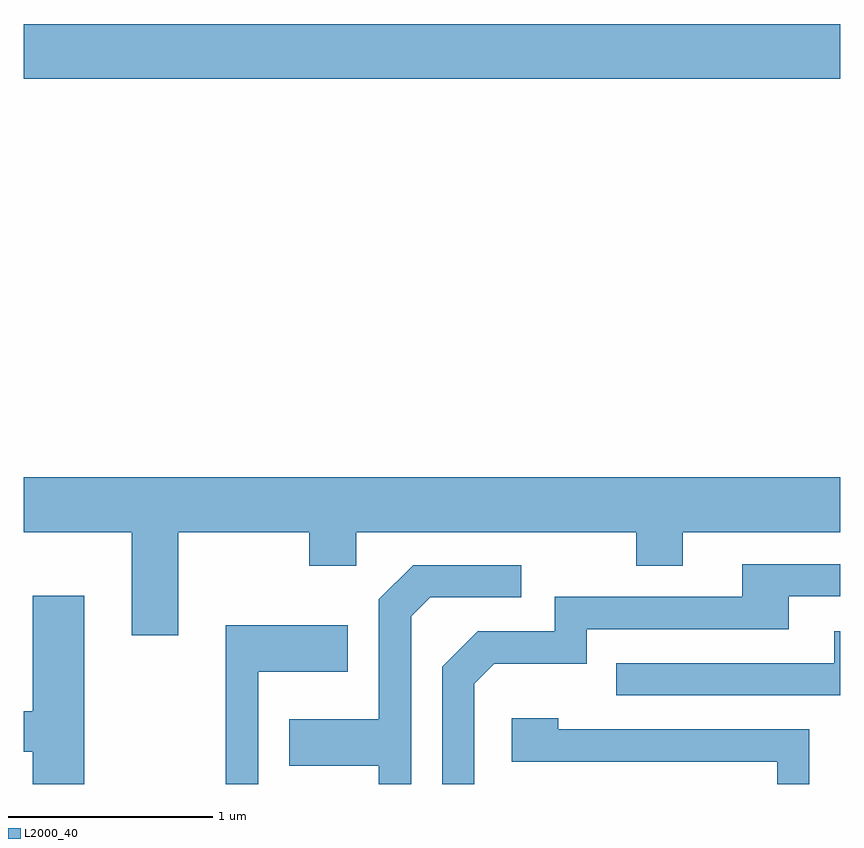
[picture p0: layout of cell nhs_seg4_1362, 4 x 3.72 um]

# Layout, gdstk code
import gdstk
lib = gdstk.Library(unit=1e-6, precision=1e-09)
def R(c, l, rs):  # rectangles x0, y0, x1, y1
    for r in rs: c.add(gdstk.rectangle(r[:2], r[2:], *l))
def P(c, l, *ps):  # polygons
    for p in ps: c.add(gdstk.Polygon(p, *l))
L2000_40 = (2000, 40)

nhs_seg4_1362 = lib.new_cell('nhs_seg4_1362')
R(nhs_seg4_1362, L2000_40, [(225.611,1261.436,229.611,1261.704)])
P(nhs_seg4_1362, L2000_40, [(226.369,1259.216),(227.011,1259.216),(227.011,1259.051),(227.239,1259.051),(227.239,1259.216),(228.611,1259.216),(228.611,1259.051),(228.839,1259.051),(228.839,1259.216),(229.611,1259.216),(229.611,1259.484),(225.611,1259.484),(225.611,1259.216),(226.141,1259.216),(226.141,1258.711),(226.369,1258.711)],
  [(227.819,1258.474),(227.917,1258.571),(228.369,1258.571),(228.369,1258.741),(229.359,1258.741),(229.359,1258.901),(229.611,1258.901),(229.611,1259.059),(229.131,1259.059),(229.131,1258.899),(228.211,1258.899),(228.211,1258.729),(227.834,1258.729),(227.661,1258.557),(227.661,1257.982),(227.819,1257.982)],
  [(227.509,1258.804),(227.602,1258.896),(228.048,1258.896),(228.048,1259.054),(227.519,1259.054),(227.351,1258.887),(227.351,1258.299),(226.911,1258.299),(226.911,1258.071),(227.351,1258.071),(227.351,1257.982),(227.509,1257.982)],
  [(225.909,1258.904),(225.656,1258.904),(225.656,1258.339),(225.611,1258.339),(225.611,1258.141),(225.656,1258.141),(225.656,1257.982),(225.909,1257.982)],
  [(226.759,1258.531),(227.199,1258.531),(227.199,1258.759),(226.601,1258.759),(226.601,1257.982),(226.759,1257.982)],
  [(229.611,1258.729),(229.581,1258.729),(229.581,1258.574),(228.513,1258.574),(228.513,1258.416),(229.611,1258.416)],
  [(229.459,1258.249),(228.229,1258.249),(228.229,1258.304),(228.001,1258.304),(228.001,1258.091),(229.301,1258.091),(229.301,1257.982),(229.459,1257.982)])

lib.write_gds('nhs_seg4_1362.gds')
